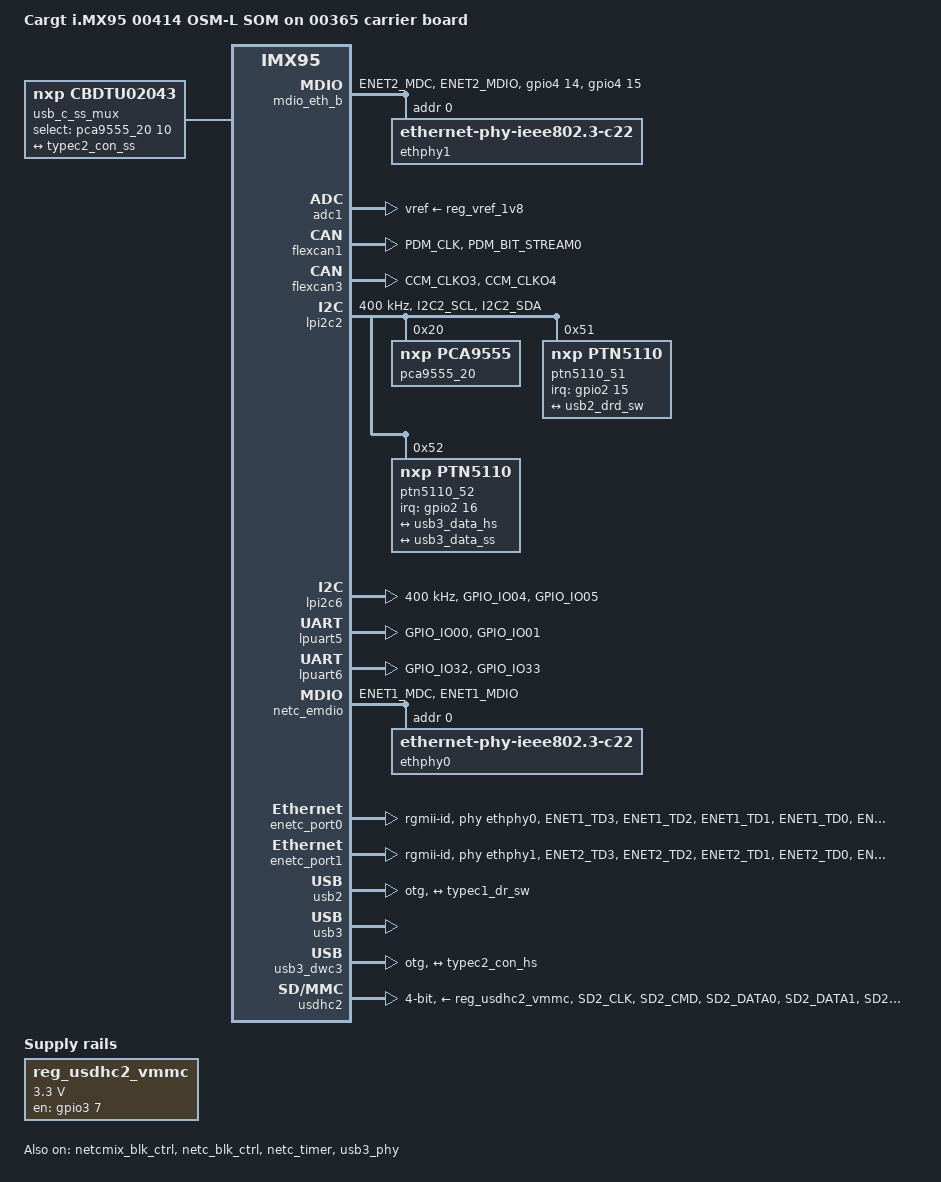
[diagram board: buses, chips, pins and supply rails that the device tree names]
// SPDX-License-Identifier: (GPL-2.0+ OR MIT)
/*
 * Copyright 2024 NXP
 * Copyright 2026 Cargt
 *
 * Cargt i.MX 95 00414 OSM-L SOM on the 00365 OSM-L carrier (rev 05).
 *
 * Ported from imx93-cargt-00363-00365.dts by OSM-L signal name: the
 * carrier routing is unchanged, but the SoC pad behind each OSM signal
 * differs between the 00363 (i.MX 93) and 00414 (i.MX 95):
 *
 *   OSM signal   00363 (i.MX 93)        00414 (i.MX 95)
 *   ETH_A        ENET1 (EQOS)           ENET1 (NETC ENETC0)
 *   ETH_B        ENET2 (FEC)            ENET2 (NETC ENETC1)
 *   I2C_A        LPI2C2                 LPI2C2
 *   I2C_B        LPI2C3 (GPIO_IO28/29)  LPI2C6 (GPIO_IO04/05)
 *   UART_A       LPUART7 (GPIO_IO08-11) LPUART3 (GPIO_IO14-17)
 *   UART_B       LPUART2                LPUART5 (GPIO_IO00-03)
 *   UART_C       LPUART6 (GPIO_IO04/05) LPUART6 (GPIO_IO32/33)
 *   CAN_A        CAN1 (PDM_CLK/BS0)     CAN1 (PDM_CLK/BS0)
 *   CAN_B        CAN2 (GPIO_IO25/27)    CAN3 (CCM_CLKO3/4)
 *   SDIO_A       USDHC2                 USDHC2
 *   USB_A        USB1 (usbotg1)         USB2 (usb2, high-speed only)
 *   USB_C        USB2 (usbotg2)         USB1 (usb3, USB 3.0)
 *
 * The 00365 uses UART_A RX/CTS as the USB_A/USB_C PTN5110 alert lines,
 * so LPUART3 itself is not enabled.
 */

/dts-v1/;

#include <dt-bindings/usb/pd.h>
#include "imx95-cargt-00414-osm-som.dts"

/ {
	model = "Cargt i.MX95 00414 OSM-L SOM on 00365 carrier board";
	compatible = "cargt,imx95-00414-00365", "cargt,imx95-00414-osm-som",
		     "fsl,imx95";

	aliases {
		ethernet0 = &enetc_port0;
		ethernet1 = &enetc_port1;
		mdio-gpio0 = &mdio_eth_b;
		serial4 = &lpuart5;
		serial5 = &lpuart6;
	};

	reg_usdhc2_vmmc: regulator-usdhc2 {
		compatible = "regulator-fixed";
		pinctrl-names = "default";
		pinctrl-0 = <&pinctrl_reg_usdhc2_vmmc>;
		/* SD2_RESET_B -> PF09 GPIO2 -> VDD_SD2_3V3 (LDO1) on the SOM */
		regulator-name = "VDD_SD2_3V3";
		regulator-min-microvolt = <3300000>;
		regulator-max-microvolt = <3300000>;
		gpio = <&gpio3 7 GPIO_ACTIVE_HIGH>;
		off-on-delay-us = <12000>;
		enable-active-high;
	};

	/*
	 * i.MX 95 has a single NETC EMDIO controller, muxable to either the
	 * ENET1 or the ENET2 MDC/MDIO pads, but the 00365 wires the two
	 * RTL8211FI PHYs to separate MDIO buses (ETH_A_MDC/MDIO and
	 * ETH_B_MDC/MDIO), both strapped to PHY address 0. NETC EMDIO serves
	 * ETH_A; ETH_B's MDIO is bit-banged on the ENET2 MDC/MDIO pads.
	 */
	mdio_eth_b: mdio {
		compatible = "virtual,mdio-gpio";
		pinctrl-names = "default";
		pinctrl-0 = <&pinctrl_mdio_eth_b>;
		gpios = <&gpio4 14 GPIO_ACTIVE_HIGH>,	/* MDC  (ENET2_MDC) */
			<&gpio4 15 GPIO_ACTIVE_HIGH>;	/* MDIO (ENET2_MDIO) */
		#address-cells = <1>;
		#size-cells = <0>;

		ethphy1: ethernet-phy@0 {
			compatible = "ethernet-phy-ieee802.3-c22";
			reg = <0>;
			/*
			 * ETH_B_RST (pca9555 P01) -> non-inverting FET level
			 * shifter -> PHYRST, active low and released by the
			 * pull-ups when undriven. Not declared until I2C_A works:
			 * with the pca9555 unprobed, a reset-gpios here keeps the
			 * PHY from registering. Restore with
			 * reset-gpios = <&pca9555_20 1 GPIO_ACTIVE_LOW>;
			 * reset-assert-us = <15000>;
			 * reset-deassert-us = <100000>;
			 */
			realtek,clkout-disable;
			eee-broken-1000t;
		};
	};

	/* USB_C SuperSpeed lane orientation mux (CBTU02043, SEL = pca9555 P12) */
	usb_c_ss_mux: usb-c-ss-mux {
		compatible = "nxp,cbdtu02043", "gpio-sbu-mux";
		select-gpios = <&pca9555_20 10 GPIO_ACTIVE_HIGH>;
		orientation-switch;

		port {
			usb3_data_ss: endpoint {
				remote-endpoint = <&typec2_con_ss>;
			};
		};
	};
};

&adc1 {
	vref-supply = <&reg_vref_1v8>;
	status = "okay";
};

/* OSM CAN_A */
&flexcan1 {
	pinctrl-names = "default";
	pinctrl-0 = <&pinctrl_flexcan1>;
	status = "okay";
};

/* OSM CAN_B */
&flexcan3 {
	pinctrl-names = "default";
	pinctrl-0 = <&pinctrl_flexcan3>;
	status = "okay";
};

/* OSM I2C_A */
&lpi2c2 {
	#address-cells = <1>;
	#size-cells = <0>;
	clock-frequency = <400000>;
	pinctrl-names = "default", "sleep";
	pinctrl-0 = <&pinctrl_lpi2c2>;
	pinctrl-1 = <&pinctrl_lpi2c2>;
	status = "okay";

	pca9555_20: gpio@20 {
		compatible = "nxp,pca9555";
		gpio-controller;
		#gpio-cells = <2>;
		reg = <0x20>;
		gpio-line-names =
			"ETH_A_RST", "ETH_B_RST", "ETH_C_RST", "DSI_VDD_EN",		// P00-P03
			"DSICT_nRST", "LVDS_EN", "LVDSCT_nRST", "CAM_PWR",		// P04-P07
			"UBUS_RST", "PCIE_PWR_EN", "USB_C_SEL", "pca9555_20-11",	// P10-P13
			"pca9555_20-12", "pca9555_20-13", "pca9555_20-14",		// P14-P16
			"LVDS_I2C_SEL";							// P17
	};

	/* USB_A: TODO verify address against the 00365 SLV_ADDR strap (0x51 on 00363-00365) */
	ptn5110_51: tcpc@51 {
		compatible = "nxp,ptn5110", "tcpci";
		reg = <0x51>;
		pinctrl-names = "default";
		pinctrl-0 = <&pinctrl_ptn5110_51>;
		interrupt-parent = <&gpio2>;
		interrupts = <15 IRQ_TYPE_LEVEL_LOW>;	/* USB_A_nALERT on OSM UART_A_RX */
		status = "okay";

		connector {
			compatible = "usb-c-connector";
			label = "USB-C(A)";
			power-role = "dual";
			data-role = "dual";
			try-power-role = "sink";
			source-pdos = <PDO_FIXED(5000, 3000, PDO_FIXED_USB_COMM)>;
			sink-pdos = <PDO_FIXED(5000, 3000, PDO_FIXED_USB_COMM)
					PDO_VAR(5000, 20000, 3000)>;
			op-sink-microwatt = <15000000>;
			self-powered;

			port {
				typec1_dr_sw: endpoint {
					remote-endpoint = <&usb2_drd_sw>;
				};
			};
		};
	};

	/* USB_C: SLV_ADDR unconnected -> 0x52 */
	ptn5110_52: tcpc@52 {
		compatible = "nxp,ptn5110", "tcpci";
		reg = <0x52>;
		pinctrl-names = "default";
		pinctrl-0 = <&pinctrl_ptn5110_52>;
		interrupt-parent = <&gpio2>;
		interrupts = <16 IRQ_TYPE_LEVEL_LOW>;	/* USB_C_nALERT on OSM UART_A_CTS */
		status = "okay";

		connector {
			compatible = "usb-c-connector";
			label = "USB-C(C)";
			power-role = "dual";
			data-role = "dual";
			try-power-role = "sink";
			source-pdos = <PDO_FIXED(5000, 3000, PDO_FIXED_USB_COMM)>;
			sink-pdos = <PDO_FIXED(5000, 3000, PDO_FIXED_USB_COMM)
					PDO_VAR(5000, 20000, 3000)>;
			op-sink-microwatt = <15000000>;
			self-powered;

			ports {
				#address-cells = <1>;
				#size-cells = <0>;

				port@0 {
					reg = <0>;

					typec2_con_hs: endpoint {
						remote-endpoint = <&usb3_data_hs>;
					};
				};

				port@1 {
					reg = <1>;

					typec2_con_ss: endpoint {
						remote-endpoint = <&usb3_data_ss>;
					};
				};
			};
		};
	};
};

/* OSM I2C_B (touch controllers on the display variants) */
&lpi2c6 {
	#address-cells = <1>;
	#size-cells = <0>;
	clock-frequency = <400000>;
	pinctrl-names = "default", "sleep";
	pinctrl-0 = <&pinctrl_lpi2c6>;
	pinctrl-1 = <&pinctrl_lpi2c6>;
	status = "okay";
};

/* OSM UART_B (MikroBus UART) */
&lpuart5 {
	pinctrl-names = "default";
	pinctrl-0 = <&pinctrl_uart5>;
	status = "okay";
};

/* OSM UART_C */
&lpuart6 {
	pinctrl-names = "default";
	pinctrl-0 = <&pinctrl_uart6>;
	status = "okay";
};

&netcmix_blk_ctrl {
	status = "okay";
};

&netc_blk_ctrl {
	status = "okay";
};

&netc_timer {
	status = "okay";
};

/* ETH_A PHY MDIO (ENET1_MDC/MDIO) */
&netc_emdio {
	pinctrl-names = "default";
	pinctrl-0 = <&pinctrl_emdio>;
	status = "okay";

	ethphy0: ethernet-phy@0 {
		compatible = "ethernet-phy-ieee802.3-c22";
		reg = <0>;
		/*
		 * ETH_A_RST (pca9555 P00) -> non-inverting FET level
		 * shifter -> PHYRST, active low and released by the
		 * pull-ups when undriven. Not declared until I2C_A works:
		 * with the pca9555 unprobed, a reset-gpios here keeps the
		 * PHY from registering. Restore with
		 * reset-gpios = <&pca9555_20 0 GPIO_ACTIVE_LOW>;
		 * reset-assert-us = <15000>;
		 * reset-deassert-us = <100000>;
		 */
		realtek,clkout-disable;
		eee-broken-1000t;
	};
};

/* OSM ETH_A */
&enetc_port0 {
	pinctrl-names = "default";
	pinctrl-0 = <&pinctrl_enetc0>;
	phy-handle = <&ethphy0>;
	phy-mode = "rgmii-id";
	status = "okay";
};

/* OSM ETH_B */
&enetc_port1 {
	pinctrl-names = "default";
	pinctrl-0 = <&pinctrl_enetc1>;
	phy-handle = <&ethphy1>;
	phy-mode = "rgmii-id";
	status = "okay";
};

/* OSM USB_A: high-speed only controller */
&usb2 {
	dr_mode = "otg";
	hnp-disable;
	srp-disable;
	adp-disable;
	usb-role-switch;
	disable-over-current;
	status = "okay";

	port {
		usb2_drd_sw: endpoint {
			remote-endpoint = <&typec1_dr_sw>;
		};
	};
};

/* OSM USB_C: USB 3.0 controller */
&usb3 {
	status = "okay";
};

&usb3_dwc3 {
	dr_mode = "otg";
	hnp-disable;
	srp-disable;
	adp-disable;
	usb-role-switch;
	role-switch-default-mode = "peripheral";
	snps,dis-u1-entry-quirk;
	snps,dis-u2-entry-quirk;
	status = "okay";

	port {
		usb3_data_hs: endpoint {
			remote-endpoint = <&typec2_con_hs>;
		};
	};
};

&usb3_phy {
	status = "okay";
};

/* OSM SDIO_A (microSD) */
&usdhc2 {
	pinctrl-names = "default", "state_100mhz", "state_200mhz", "sleep";
	pinctrl-0 = <&pinctrl_usdhc2>, <&pinctrl_usdhc2_gpio>;
	pinctrl-1 = <&pinctrl_usdhc2_100mhz>, <&pinctrl_usdhc2_gpio>;
	pinctrl-2 = <&pinctrl_usdhc2_200mhz>, <&pinctrl_usdhc2_gpio>;
	pinctrl-3 = <&pinctrl_usdhc2>, <&pinctrl_usdhc2_gpio>;
	cd-gpios = <&gpio3 0 GPIO_ACTIVE_LOW>;
	fsl,cd-gpio-wakeup-disable;
	vmmc-supply = <&reg_usdhc2_vmmc>;
	bus-width = <4>;
	no-sdio;
	no-mmc;
	max-frequency = <104000000>; /* 104MHz is the max frequency for 00365 */
	no-1-8-v;
	status = "okay";
};

&scmi_iomuxc {
	pinctrl_emdio: emdiogrp {
		fsl,pins = <
			IMX95_PAD_ENET1_MDC__NETCMIX_TOP_NETC_MDC		0x50e
			IMX95_PAD_ENET1_MDIO__NETCMIX_TOP_NETC_MDIO		0x90e
		>;
	};

	pinctrl_mdio_eth_b: mdioethbgrp {
		fsl,pins = <
			IMX95_PAD_ENET2_MDC__GPIO4_IO_BIT14			0x50e
			IMX95_PAD_ENET2_MDIO__GPIO4_IO_BIT15			0x90e
		>;
	};

	pinctrl_enetc0: enetc0grp {
		fsl,pins = <
			IMX95_PAD_ENET1_TD3__NETCMIX_TOP_ETH0_RGMII_TD3		0x50e
			IMX95_PAD_ENET1_TD2__NETCMIX_TOP_ETH0_RGMII_TD2		0x50e
			IMX95_PAD_ENET1_TD1__NETCMIX_TOP_ETH0_RGMII_TD1		0x50e
			IMX95_PAD_ENET1_TD0__NETCMIX_TOP_ETH0_RGMII_TD0		0x50e
			IMX95_PAD_ENET1_TX_CTL__NETCMIX_TOP_ETH0_RGMII_TX_CTL	0x57e
			IMX95_PAD_ENET1_TXC__NETCMIX_TOP_ETH0_RGMII_TX_CLK	0x58e
			IMX95_PAD_ENET1_RX_CTL__NETCMIX_TOP_ETH0_RGMII_RX_CTL	0x57e
			IMX95_PAD_ENET1_RXC__NETCMIX_TOP_ETH0_RGMII_RX_CLK	0x58e
			IMX95_PAD_ENET1_RD0__NETCMIX_TOP_ETH0_RGMII_RD0		0x57e
			IMX95_PAD_ENET1_RD1__NETCMIX_TOP_ETH0_RGMII_RD1		0x57e
			IMX95_PAD_ENET1_RD2__NETCMIX_TOP_ETH0_RGMII_RD2		0x57e
			IMX95_PAD_ENET1_RD3__NETCMIX_TOP_ETH0_RGMII_RD3		0x57e
		>;
	};

	pinctrl_enetc1: enetc1grp {
		fsl,pins = <
			IMX95_PAD_ENET2_TD3__NETCMIX_TOP_ETH1_RGMII_TD3		0x50e
			IMX95_PAD_ENET2_TD2__NETCMIX_TOP_ETH1_RGMII_TD2		0x50e
			IMX95_PAD_ENET2_TD1__NETCMIX_TOP_ETH1_RGMII_TD1		0x50e
			IMX95_PAD_ENET2_TD0__NETCMIX_TOP_ETH1_RGMII_TD0		0x50e
			IMX95_PAD_ENET2_TX_CTL__NETCMIX_TOP_ETH1_RGMII_TX_CTL	0x57e
			IMX95_PAD_ENET2_TXC__NETCMIX_TOP_ETH1_RGMII_TX_CLK	0x58e
			IMX95_PAD_ENET2_RX_CTL__NETCMIX_TOP_ETH1_RGMII_RX_CTL	0x57e
			IMX95_PAD_ENET2_RXC__NETCMIX_TOP_ETH1_RGMII_RX_CLK	0x58e
			IMX95_PAD_ENET2_RD0__NETCMIX_TOP_ETH1_RGMII_RD0		0x57e
			IMX95_PAD_ENET2_RD1__NETCMIX_TOP_ETH1_RGMII_RD1		0x57e
			IMX95_PAD_ENET2_RD2__NETCMIX_TOP_ETH1_RGMII_RD2		0x57e
			IMX95_PAD_ENET2_RD3__NETCMIX_TOP_ETH1_RGMII_RD3		0x57e
		>;
	};

	pinctrl_flexcan1: flexcan1grp {
		fsl,pins = <
			IMX95_PAD_PDM_CLK__AONMIX_TOP_CAN1_TX			0x39e
			IMX95_PAD_PDM_BIT_STREAM0__AONMIX_TOP_CAN1_RX		0x39e
		>;
	};

	pinctrl_flexcan3: flexcan3grp {
		fsl,pins = <
			IMX95_PAD_CCM_CLKO3__CAN3_TX				0x39e
			IMX95_PAD_CCM_CLKO4__CAN3_RX				0x39e
		>;
	};

	pinctrl_lpi2c2: lpi2c2grp {
		fsl,pins = <
			IMX95_PAD_I2C2_SCL__AONMIX_TOP_LPI2C2_SCL		0x40000b9e
			IMX95_PAD_I2C2_SDA__AONMIX_TOP_LPI2C2_SDA		0x40000b9e
		>;
	};

	pinctrl_lpi2c6: lpi2c6grp {
		fsl,pins = <
			IMX95_PAD_GPIO_IO04__LPI2C6_SDA				0x40000b9e
			IMX95_PAD_GPIO_IO05__LPI2C6_SCL				0x40000b9e
		>;
	};

	pinctrl_ptn5110_51: ptn5110-51grp {
		fsl,pins = <
			IMX95_PAD_GPIO_IO15__GPIO2_IO_BIT15			0x31e
		>;
	};

	pinctrl_ptn5110_52: ptn5110-52grp {
		fsl,pins = <
			IMX95_PAD_GPIO_IO16__GPIO2_IO_BIT16			0x31e
		>;
	};

	pinctrl_uart5: uart5grp {
		fsl,pins = <
			IMX95_PAD_GPIO_IO00__LPUART5_TX				0x31e
			IMX95_PAD_GPIO_IO01__LPUART5_RX				0x31e
		>;
	};

	pinctrl_uart6: uart6grp {
		fsl,pins = <
			IMX95_PAD_GPIO_IO32__LPUART6_TX				0x31e
			IMX95_PAD_GPIO_IO33__LPUART6_RX				0x31e
		>;
	};

	pinctrl_reg_usdhc2_vmmc: regusdhc2vmmcgrp {
		fsl,pins = <
			IMX95_PAD_SD2_RESET_B__GPIO3_IO_BIT7			0x31e
		>;
	};

	pinctrl_usdhc2_gpio: usdhc2gpiogrp {
		fsl,pins = <
			IMX95_PAD_SD2_CD_B__GPIO3_IO_BIT0			0x31e
		>;
	};

	pinctrl_usdhc2: usdhc2grp {
		fsl,pins = <
			IMX95_PAD_SD2_CLK__USDHC2_CLK				0x158e
			IMX95_PAD_SD2_CMD__USDHC2_CMD				0x138e
			IMX95_PAD_SD2_DATA0__USDHC2_DATA0			0x138e
			IMX95_PAD_SD2_DATA1__USDHC2_DATA1			0x138e
			IMX95_PAD_SD2_DATA2__USDHC2_DATA2			0x138e
			IMX95_PAD_SD2_DATA3__USDHC2_DATA3			0x138e
			IMX95_PAD_SD2_VSELECT__USDHC2_VSELECT			0x51e
		>;
	};

	pinctrl_usdhc2_100mhz: usdhc2-100mhzgrp {
		fsl,pins = <
			IMX95_PAD_SD2_CLK__USDHC2_CLK				0x158e
			IMX95_PAD_SD2_CMD__USDHC2_CMD				0x138e
			IMX95_PAD_SD2_DATA0__USDHC2_DATA0			0x138e
			IMX95_PAD_SD2_DATA1__USDHC2_DATA1			0x138e
			IMX95_PAD_SD2_DATA2__USDHC2_DATA2			0x138e
			IMX95_PAD_SD2_DATA3__USDHC2_DATA3			0x138e
			IMX95_PAD_SD2_VSELECT__USDHC2_VSELECT			0x51e
		>;
	};

	pinctrl_usdhc2_200mhz: usdhc2-200mhzgrp {
		fsl,pins = <
			IMX95_PAD_SD2_CLK__USDHC2_CLK				0x158e
			IMX95_PAD_SD2_CMD__USDHC2_CMD				0x138e
			IMX95_PAD_SD2_DATA0__USDHC2_DATA0			0x138e
			IMX95_PAD_SD2_DATA1__USDHC2_DATA1			0x138e
			IMX95_PAD_SD2_DATA2__USDHC2_DATA2			0x138e
			IMX95_PAD_SD2_DATA3__USDHC2_DATA3			0x138e
			IMX95_PAD_SD2_VSELECT__USDHC2_VSELECT			0x51e
		>;
	};
};
